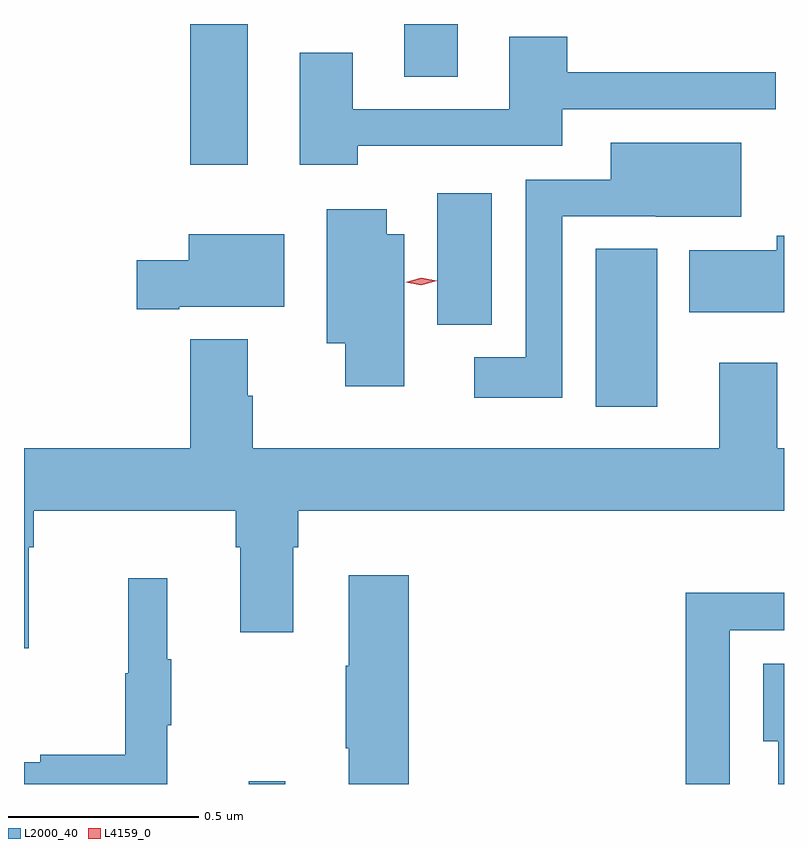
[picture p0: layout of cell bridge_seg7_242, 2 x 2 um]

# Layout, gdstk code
import gdstk
lib = gdstk.Library(unit=1e-6, precision=1e-09)
def R(c, l, rs):  # rectangles x0, y0, x1, y1
    for r in rs: c.add(gdstk.rectangle(r[:2], r[2:], *l))
def P(c, l, *ps):  # polygons
    for p in ps: c.add(gdstk.Polygon(p, *l))
L2000_40 = (2000, 40)
L4159_0 = (4159, 0)

bridge_seg7_242 = lib.new_cell('bridge_seg7_242')
R(bridge_seg7_242, L2000_40, [(268.305,1039.857,268.402,1039.864), (269.219,1040.85,269.38,1041.265), (268.802,1041.065,268.945,1041.412), (268.151,1041.486,268.303,1041.857), (268.715,1041.718,268.855,1041.857)])
P(bridge_seg7_242, L2000_40, [(268.592,1041.537),(269.131,1041.537),(269.131,1041.633),(269.692,1041.633),(269.692,1041.73),(269.144,1041.73),(269.144,1041.823),(268.991,1041.823),(268.991,1041.633),(268.579,1041.633),(268.579,1041.781),(268.439,1041.781),(268.439,1041.486),(268.592,1041.486)],
  [(269.13,1041.351),(269.376,1041.351),(269.376,1041.35),(269.602,1041.35),(269.602,1041.544),(269.258,1041.544),(269.258,1041.447),(269.034,1041.447),(269.034,1040.98),(268.899,1040.98),(268.899,1040.873),(269.13,1040.873)],
  [(268.714,1041.304),(268.669,1041.304),(268.669,1041.37),(268.511,1041.37),(268.511,1041.017),(268.559,1041.017),(268.559,1040.904),(268.714,1040.904)],
  [(268.123,1041.113),(268.399,1041.113),(268.399,1041.304),(268.148,1041.304),(268.148,1041.235),(268.011,1041.235),(268.011,1041.106),(268.123,1041.106)],
  [(269.714,1041.3),(269.695,1041.3),(269.695,1041.262),(269.465,1041.262),(269.465,1041.098),(269.714,1041.098)],
  [(267.727,1040.48),(267.74,1040.48),(267.74,1040.576),(268.271,1040.576),(268.271,1040.48),(268.283,1040.48),(268.283,1040.256),(268.423,1040.256),(268.423,1040.48),(268.436,1040.48),(268.436,1040.576),(269.714,1040.576),(269.714,1040.74),(269.696,1040.74),(269.696,1040.965),(269.543,1040.965),(269.543,1040.74),(268.316,1040.74),(268.316,1040.879),(268.303,1040.879),(268.303,1041.028),(268.151,1041.028),(268.151,1040.74),(267.714,1040.74),(267.714,1040.214),(267.727,1040.214)],
  [(268.727,1040.407),(268.568,1040.407),(268.568,1040.168),(268.561,1040.168),(268.561,1039.951),(268.568,1039.951),(268.568,1039.857),(268.727,1039.857)],
  [(268.091,1040.011),(268.102,1040.011),(268.102,1040.185),(268.091,1040.185),(268.091,1040.398),(267.988,1040.398),(267.988,1040.148),(267.981,1040.148),(267.981,1039.934),(267.757,1039.934),(267.757,1039.914),(267.714,1039.914),(267.714,1039.857),(268.091,1039.857)],
  [(269.571,1040.262),(269.714,1040.262),(269.714,1040.36),(269.455,1040.36),(269.455,1039.857),(269.571,1039.857)],
  [(269.714,1040.173),(269.66,1040.173),(269.66,1039.97),(269.699,1039.97),(269.699,1039.857),(269.714,1039.857)])
P(bridge_seg7_242, L4159_0, [(268.76,1041.169),(268.718,1041.178),(268.718,1041.178),(268.718,1041.178),(268.759,1041.189),(268.8,1041.181),(268.8,1041.181),(268.8,1041.181)])

lib.write_gds('bridge_seg7_242.gds')
